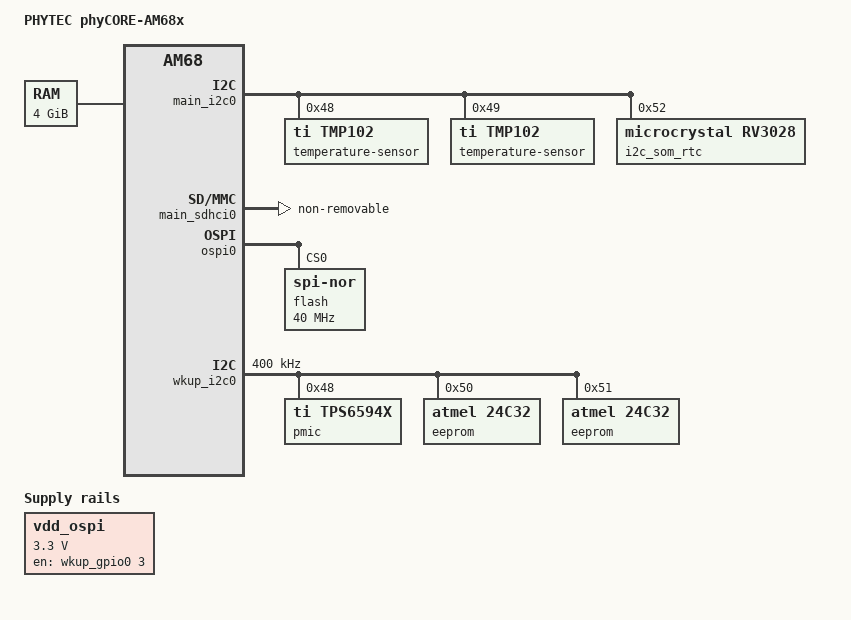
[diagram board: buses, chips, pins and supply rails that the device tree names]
// SPDX-License-Identifier: GPL-2.0
/*
 * Copyright (C) 2023 PHYTEC Messtechnik GmbH
 * Author: Dominik Haller <d.haller@phytec.de>
 */

/dts-v1/;

#include <dt-bindings/gpio/gpio.h>
#include "k3-j721s2.dtsi"

/ {
	compatible = "phytec,am68-phycore-som", "ti,j721s2";
	model = "PHYTEC phyCORE-AM68x";

	aliases {
		mmc0 = &main_sdhci0;
		rtc0 = &i2c_som_rtc;
	};

	memory@80000000 {
		device_type = "memory";
		/* 4 GB RAM */
		reg = <0x00 0x80000000 0x00 0x80000000>,
		      <0x08 0x80000000 0x00 0x80000000>;
	};

	/* Reserving memory regions still pending */
	reserved_memory: reserved-memory {
		#address-cells = <2>;
		#size-cells = <2>;
		ranges;

		secure_ddr: optee@9e800000 {
			reg = <0x00 0x9e800000 0x00 0x01800000>;
			alignment = <0x1000>;
			no-map;
		};

		mcu_r5fss0_core0_dma_memory_region: r5f-dma-memory@a0000000 {
			compatible = "shared-dma-pool";
			reg = <0x00 0xa0000000 0x00 0x100000>;
			no-map;
		};

		mcu_r5fss0_core0_memory_region: r5f-memory@a0100000 {
			compatible = "shared-dma-pool";
			reg = <0x00 0xa0100000 0x00 0xf00000>;
			no-map;
		};

		mcu_r5fss0_core1_dma_memory_region: r5f-dma-memory@a1000000 {
			compatible = "shared-dma-pool";
			reg = <0x00 0xa1000000 0x00 0x100000>;
			no-map;
		};

		mcu_r5fss0_core1_memory_region: r5f-memory@a1100000 {
			compatible = "shared-dma-pool";
			reg = <0x00 0xa1100000 0x00 0xf00000>;
			no-map;
		};

		main_r5fss0_core0_dma_memory_region: r5f-dma-memory@a2000000 {
			compatible = "shared-dma-pool";
			reg = <0x00 0xa2000000 0x00 0x100000>;
			no-map;
		};

		main_r5fss0_core0_memory_region: r5f-memory@a2100000 {
			compatible = "shared-dma-pool";
			reg = <0x00 0xa2100000 0x00 0xf00000>;
			no-map;
		};

		main_r5fss0_core1_dma_memory_region: r5f-dma-memory@a3000000 {
			compatible = "shared-dma-pool";
			reg = <0x00 0xa3000000 0x00 0x100000>;
			no-map;
		};

		main_r5fss0_core1_memory_region: r5f-memory@a3100000 {
			compatible = "shared-dma-pool";
			reg = <0x00 0xa3100000 0x00 0xf00000>;
			no-map;
		};

		main_r5fss1_core0_dma_memory_region: r5f-dma-memory@a4000000 {
			compatible = "shared-dma-pool";
			reg = <0x00 0xa4000000 0x00 0x100000>;
			no-map;
		};

		main_r5fss1_core0_memory_region: r5f-memory@a4100000 {
			compatible = "shared-dma-pool";
			reg = <0x00 0xa4100000 0x00 0xf00000>;
			no-map;
		};

		main_r5fss1_core1_dma_memory_region: r5f-dma-memory@a5000000 {
			compatible = "shared-dma-pool";
			reg = <0x00 0xa5000000 0x00 0x100000>;
			no-map;
		};

		main_r5fss1_core1_memory_region: r5f-memory@a5100000 {
			compatible = "shared-dma-pool";
			reg = <0x00 0xa5100000 0x00 0xf00000>;
			no-map;
		};

		c71_0_dma_memory_region: c71-dma-memory@a6000000 {
			compatible = "shared-dma-pool";
			reg = <0x00 0xa6000000 0x00 0x100000>;
			no-map;
		};

		c71_0_memory_region: c71-memory@a6100000 {
			compatible = "shared-dma-pool";
			reg = <0x00 0xa6100000 0x00 0xf00000>;
			no-map;
		};

		c71_1_dma_memory_region: c71-dma-memory@a7000000 {
			compatible = "shared-dma-pool";
			reg = <0x00 0xa7000000 0x00 0x100000>;
			no-map;
		};

		c71_1_memory_region: c71-memory@a7100000 {
			compatible = "shared-dma-pool";
			reg = <0x00 0xa7100000 0x00 0xf00000>;
			no-map;
		};

		rtos_ipc_memory_region: ipc-memories@a8000000 {
			reg = <0x00 0xa8000000 0x00 0x01c00000>;
			alignment = <0x1000>;
			no-map;
		};
	};

	/* Dummy regulator to enable OSPI0 */
	vdd_ospi: regulator-ospi {
		compatible = "regulator-fixed";
		regulator-name = "vdd_ospi";
		regulator-min-microvolt = <3300000>;
		regulator-max-microvolt = <3300000>;
		regulator-boot-on;
		regulator-always-on;
		enable-active-high;
		pinctrl-names = "default";
		pinctrl-0 = <&vdd_ospi_pins_default>;
		gpio = <&wkup_gpio0 3 GPIO_ACTIVE_HIGH>;
	};
};

&main_pmx0 {
	main_i2c0_pins_default: main_i2c0_pins_default {
		pinctrl-single,pins = <
			J721S2_IOPAD(0x0e0, PIN_INPUT_PULLUP, 0) /* (AH25) I2C0_SCL */
			J721S2_IOPAD(0x0e4, PIN_INPUT_PULLUP, 0) /* (AE24) I2C0_SDA */
		>;
	};
};

&wkup_pmx0 {
	mcu_fss0_ospi0_pins_default: mcu-fss0-ospi0-pins-default {
		pinctrl-single,pins = <
			J721S2_WKUP_IOPAD(0x000, PIN_OUTPUT, 0) /* (D19) MCU_OSPI0_CLK */
			J721S2_WKUP_IOPAD(0x02c, PIN_OUTPUT, 0) /* (F15) MCU_OSPI0_CSn0 */
			J721S2_WKUP_IOPAD(0x00c, PIN_INPUT, 0) /* (C19) MCU_OSPI0_D0 */
			J721S2_WKUP_IOPAD(0x010, PIN_INPUT, 0) /* (F16) MCU_OSPI0_D1 */
			J721S2_WKUP_IOPAD(0x014, PIN_INPUT, 0) /* (G15) MCU_OSPI0_D2 */
			J721S2_WKUP_IOPAD(0x018, PIN_INPUT, 0) /* (F18) MCU_OSPI0_D3 */
			J721S2_WKUP_IOPAD(0x01c, PIN_INPUT, 0) /* (E19) MCU_OSPI0_D4 */
			J721S2_WKUP_IOPAD(0x020, PIN_INPUT, 0) /* (G19) MCU_OSPI0_D5 */
			J721S2_WKUP_IOPAD(0x024, PIN_INPUT, 0) /* (F19) MCU_OSPI0_D6 */
			J721S2_WKUP_IOPAD(0x028, PIN_INPUT, 0) /* (F20) MCU_OSPI0_D7 */
			J721S2_WKUP_IOPAD(0x008, PIN_INPUT, 0) /* (E18) MCU_OSPI0_DQS */
			J721S2_WKUP_IOPAD(0x03c, PIN_OUTPUT, 6) /* (F17) MCU_OSPI0_CSn3.MCU_OSPI0_ECC_FAIL */
			J721S2_WKUP_IOPAD(0x038, PIN_OUTPUT, 6) /* (F14) MCU_OSPI0_CSn2.MCU_OSPI0_RESET_OUT0 */
		>;
	};

	mcu_i2c0_pins_default: mcu-i2c0-pins-default {
		pinctrl-single,pins = <
			J721S2_WKUP_IOPAD(0x108, PIN_INPUT_PULLUP, 0) /* (G24) MCU_I2C0_SCL */
			J721S2_WKUP_IOPAD(0x10c, PIN_INPUT_PULLUP, 0) /* (J25) MCU_I2C0_SDA */
		>;
	};

	vdd_ospi_pins_default: vdd-ospi-pins-default {
		pinctrl-single,pins = <
			J721S2_WKUP_IOPAD(0x0cc, PIN_OUTPUT, 7) /* (C27) WKUP_GPIO0_3 */
		>;
	};

	wkup_i2c0_pins_default: wkup-i2c0-pins-default {
		pinctrl-single,pins = <
			J721S2_WKUP_IOPAD(0x100, PIN_INPUT_PULLUP, 0) /* (H24) WKUP_I2C0_SCL */
			J721S2_WKUP_IOPAD(0x104, PIN_INPUT_PULLUP, 0) /* (H27) WKUP_I2C0_SDA */
		>;
	};
};

&c71_0 {
	mboxes = <&mailbox0_cluster4 &mbox_c71_0>;
	memory-region = <&c71_0_dma_memory_region>,
			<&c71_0_memory_region>;
};

&c71_1 {
	mboxes = <&mailbox0_cluster4 &mbox_c71_1>;
	memory-region = <&c71_1_dma_memory_region>,
			<&c71_1_memory_region>;
};

&mailbox0_cluster0 {
	interrupts = <436>;

	mbox_mcu_r5fss0_core0: mbox-mcu-r5fss0-core0 {
		ti,mbox-rx = <0 0 0>;
		ti,mbox-tx = <1 0 0>;
	};

	mbox_mcu_r5fss0_core1: mbox-mcu-r5fss0-core1 {
		ti,mbox-rx = <2 0 0>;
		ti,mbox-tx = <3 0 0>;
	};
};

&mailbox0_cluster1 {
	interrupts = <432>;

	mbox_main_r5fss0_core0: mbox-main-r5fss0-core0 {
		ti,mbox-rx = <0 0 0>;
		ti,mbox-tx = <1 0 0>;
	};

	mbox_main_r5fss0_core1: mbox-main-r5fss0-core1 {
		ti,mbox-rx = <2 0 0>;
		ti,mbox-tx = <3 0 0>;
	};
};

&mailbox0_cluster2 {
	interrupts = <428>;

	mbox_main_r5fss1_core0: mbox-main-r5fss1-core0 {
		ti,mbox-rx = <0 0 0>;
		ti,mbox-tx = <1 0 0>;
	};

	mbox_main_r5fss1_core1: mbox-main-r5fss1-core1 {
		ti,mbox-rx = <2 0 0>;
		ti,mbox-tx = <3 0 0>;
	};
};

&mailbox0_cluster3 {
	status = "disabled";
};

&mailbox0_cluster4 {
	interrupts = <420>;

	mbox_c71_0: mbox-c71-0 {
		ti,mbox-rx = <0 0 0>;
		ti,mbox-tx = <1 0 0>;
	};

	mbox_c71_1: mbox-c71-1 {
		ti,mbox-rx = <2 0 0>;
		ti,mbox-tx = <3 0 0>;
	};
};

&mailbox0_cluster5 {
	status = "disabled";
};

&mailbox0_cluster6 {
	status = "disabled";
};

&mailbox0_cluster7 {
	status = "disabled";
};

&mailbox0_cluster8 {
	status = "disabled";
};

&mailbox0_cluster9 {
	status = "disabled";
};

&mailbox0_cluster10 {
	status = "disabled";
};

&mailbox0_cluster11 {
	status = "disabled";
};

&mailbox1_cluster0 {
	status = "disabled";
};

&mailbox1_cluster1 {
	status = "disabled";
};

&mailbox1_cluster2 {
	status = "disabled";
};

&mailbox1_cluster3 {
	status = "disabled";
};

&mailbox1_cluster4 {
	status = "disabled";
};

&mailbox1_cluster5 {
	status = "disabled";
};

&mailbox1_cluster6 {
	status = "disabled";
};

&mailbox1_cluster7 {
	status = "disabled";
};

&mailbox1_cluster8 {
	status = "disabled";
};

&mailbox1_cluster9 {
	status = "disabled";
};

&mailbox1_cluster10 {
	status = "disabled";
};

&mailbox1_cluster11 {
	status = "disabled";
};

&main_i2c0 {
	pinctrl-names = "default";
	pinctrl-0 = <&main_i2c0_pins_default>;

	temperature-sensor@48 {
		compatible = "ti,tmp102";
		reg =<0x48>;
	};

	temperature-sensor@49 {
		compatible = "ti,tmp102";
		reg =<0x49>;
	};

	i2c_som_rtc: rtc@52 {
		compatible = "microcrystal,rv3028";
		reg = <0x52>;
	};
};

&main_r5fss0_core0 {
	mboxes = <&mailbox0_cluster1 &mbox_main_r5fss0_core0>;
	memory-region = <&main_r5fss0_core0_dma_memory_region>,
			<&main_r5fss0_core0_memory_region>;
};

&main_r5fss0_core1 {
	mboxes = <&mailbox0_cluster1 &mbox_main_r5fss0_core1>;
	memory-region = <&main_r5fss0_core1_dma_memory_region>,
			<&main_r5fss0_core1_memory_region>;
};

&main_r5fss1_core0 {
	mboxes = <&mailbox0_cluster2 &mbox_main_r5fss1_core0>;
	memory-region = <&main_r5fss1_core0_dma_memory_region>,
			<&main_r5fss1_core0_memory_region>;
};

&main_r5fss1_core1 {
	mboxes = <&mailbox0_cluster2 &mbox_main_r5fss1_core1>;
	memory-region = <&main_r5fss1_core1_dma_memory_region>,
			<&main_r5fss1_core1_memory_region>;
};

/* eMMC */
&main_sdhci0 {
	non-removable;
	ti,driver-strength-ohm = <50>;
	disable-wp;
};

/* also PMIC */
&mcu_i2c0 {
	pinctrl-names = "default";
	pinctrl-0 = <&mcu_i2c0_pins_default>;
};

&mcu_r5fss0_core0 {
	mboxes = <&mailbox0_cluster0 &mbox_mcu_r5fss0_core0>;
	memory-region = <&mcu_r5fss0_core0_dma_memory_region>,
			<&mcu_r5fss0_core0_memory_region>;
};

&mcu_r5fss0_core1 {
	mboxes = <&mailbox0_cluster0 &mbox_mcu_r5fss0_core1>;
	memory-region = <&mcu_r5fss0_core1_dma_memory_region>,
			<&mcu_r5fss0_core1_memory_region>;
};

&ospi0 {
	pinctrl-names = "default";
	pinctrl-0 = <&mcu_fss0_ospi0_pins_default>;

	flash@0 {
		compatible = "jedec,spi-nor";
		reg = <0x0>;
		spi-tx-bus-width = <8>;
		spi-rx-bus-width = <8>;
		spi-max-frequency = <40000000>;
		cdns,tshsl-ns = <60>;
		cdns,tsd2d-ns = <60>;
		cdns,tchsh-ns = <60>;
		cdns,tslch-ns = <60>;
		cdns,read-delay = <2>;
		#address-cells = <1>;
		#size-cells = <1>;
	};
};

&wkup_i2c0 {
	pinctrl-names = "default";
	pinctrl-0 = <&wkup_i2c0_pins_default>;
	clock-frequency = <400000>;

	pmic@48 {
		compatible = "ti,tps6594x";
		reg = <0x48>;

		gpio {
			compatible = "ti,tps6594x-gpio";
		};

		rtc {
			compatible = "ti,tps6594x-rtc";
		};
	};

	eeprom@50 {
		compatible = "atmel,24c32";
		reg = <0x50>;
		pagesize = <32>;
	};

	eeprom@51 {
		compatible = "atmel,24c32";
		reg = <0x51>;
		pagesize = <32>;
	};
};
